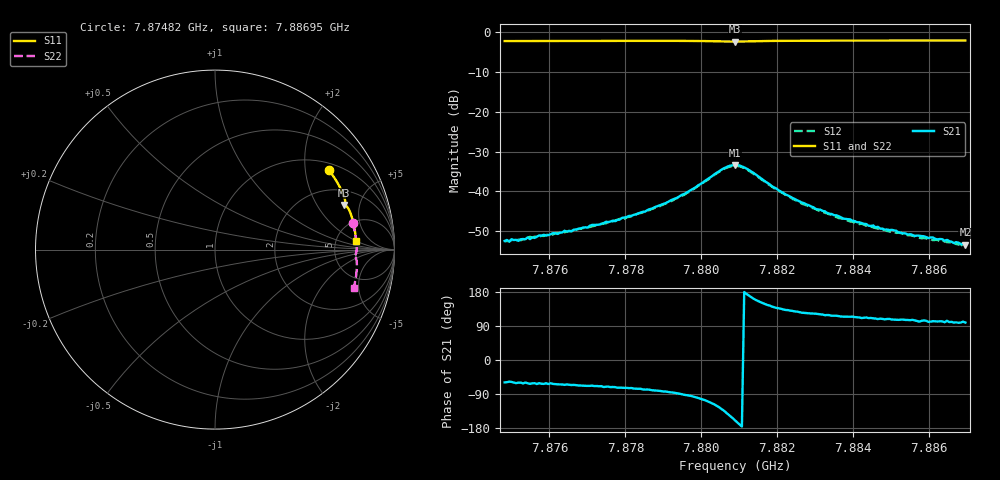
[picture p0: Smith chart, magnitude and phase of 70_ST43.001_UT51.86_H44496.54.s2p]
#  HZ  S  DB  R  50.00
! Rohde & Schwarz Vector Network Analyzer
! Rohde-Schwarz,ZNB20-2Port,1311601062101988,3.16
! Created: UTC 1/12/2023, 6:34:22 PM
! freq[Hz]  db:S11  ang:S11  db:S21  ang:S21  db:S12  ang:S12  db:S22  ang:S22
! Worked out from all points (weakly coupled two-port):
!   201 points, 7.87482 GHz to 7.88695 GHz, reference 50 ohm
!   highest |S21| = -33.38 dB at 7.88089 GHz (marker M1); lowest = -53.4 dB at 7.88695 GHz (marker M2)
!   lowest |S11| = -2.4 dB at 7.88089 GHz (marker M3), VSWR 7.41, Z = 150 + j178 ohm
!   |S11| at or under -10 dB: nowhere
!   |S22| runs from -2.2 to -1.9 dB; largest |S21 - S12| = 0.0013
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7.874821e9  -2.23 35.0  -52.43 -59.1  -52.63 -63.2  -2.14 11.0
7.874942e9  -2.22 34.7  -52.57 -57.2  -52.59 -61.8  -2.14 10.7
7.875003e9  -2.22 34.6  -52.02 -57.8  -52.20 -60.9  -2.14 10.5
7.875184e9  -2.22 34.0  -52.41 -59.7  -52.10 -63.0  -2.14 10.1
7.875427e9  -2.22 33.4  -51.55 -61.2  -51.68 -63.2  -2.13 9.6
7.875488e9  -2.21 33.2  -51.98 -63.0  -51.40 -65.4  -2.12 9.4
7.87573e9  -2.21 32.5  -51.03 -61.2  -51.41 -64.6  -2.13 8.8
7.876216e9  -2.20 31.2  -50.69 -64.2  -50.41 -67.0  -2.11 7.7
7.876398e9  -2.20 30.7  -49.87 -65.6  -50.27 -67.7  -2.09 7.3
7.876579e9  -2.20 30.2  -50.01 -66.0  -50.01 -69.6  -2.09 6.8
7.876883e9  -2.20 29.4  -49.10 -67.8  -49.15 -70.5  -2.08 6.1
7.877732e9  -2.19 27.1  -47.47 -71.6  -47.29 -75.2  -2.06 4.2
7.878884e9  -2.18 23.9  -43.54 -81.3  -43.82 -84.4  -2.05 1.4
7.879733e9  -2.20 21.4  -39.62 -94.9  -39.79 -98.6  -2.06 -0.7
7.880583e9  -2.32 19.2  -34.23 -132.9  -34.44 -136.4  -2.18 -2.6
7.880886e9  -2.36 19.0  -33.38 -159.4  -33.54 -162.7  -2.23 -2.7
7.881189e9  -2.31 18.8  -34.25 174.3  -34.44 171.3  -2.19 -2.7
7.88222e9  -2.16 16.1  -40.78 132.0  -40.93 129.1  -2.01 -4.9
7.882948e9  -2.13 14.1  -43.97 122.5  -44.25 119.2  -1.98 -6.6
7.883737e9  -2.11 11.9  -46.83 114.4  -46.83 112.9  -1.96 -8.4
7.88495e9  -2.10 8.7  -49.70 108.5  -50.06 104.4  -1.94 -11.2
7.886951e9  -2.08 3.5  -53.37 98.8  -53.66 98.2  -1.91 -15.4
